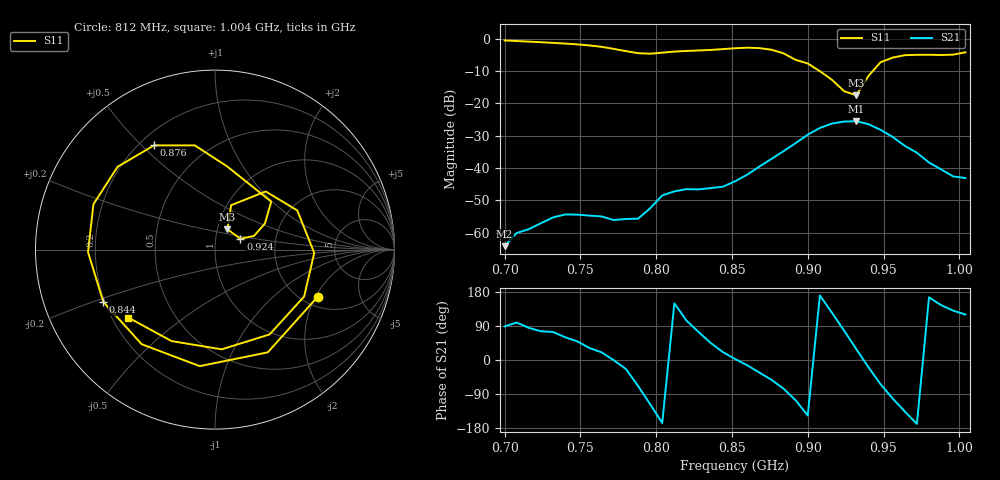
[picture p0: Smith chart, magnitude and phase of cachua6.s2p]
# Hz S RI R 50
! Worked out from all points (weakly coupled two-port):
!   39 points, 700 MHz to 1.004 GHz, reference 50 ohm
!   highest |S21| = -25.55 dB at 932 MHz (marker M1); lowest = -64.2 dB at 700 MHz (marker M2)
!   lowest |S11| = -17.5 dB at 932 MHz (marker M3), VSWR 1.31, Z = 55.9 + j12.9 ohm
!   |S11| at or under -10 dB: 907.7 MHz to 943 MHz (35.28 MHz wide, 3.81 % of centre)
!   S12 and S22 are empty: the file has one direction only
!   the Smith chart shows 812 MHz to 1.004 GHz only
!   S11 on the Smith chart (normalised r, x): 812 MHz: 2.39, -2.08; 844 MHz: 0.19, -0.21; 876 MHz: 0.26, +0.54; 924 MHz: 1.32, +0.16; 1.004 GHz: 0.27, -0.32
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7e8  0.7569 0.5489  1.46e-05 0.000617  0 0  0 0
7.24e8  0.8414 -0.2502  0.000343 0.00135  0 0  0 0
7.4e8  0.4573 -0.7004  0.000955 0.00165  0 0  0 0
7.56e8  -0.1913 -0.7595  0.00156 0.000956  0 0  0 0
7.72e8  -0.663 -0.1998  0.00156 -1.58e-05  0 0  0 0
7.8e8  -0.6004 0.2202  0.00149 -0.000651  0 0  0 0
7.88e8  -0.2599 0.5353  0.00061 -0.00152  0 0  0 0
7.96e8  0.2275 0.5369  -0.00106 -0.00212  0 0  0 0
8.04e8  0.5723 0.1973  -0.00365 -0.000892  0 0  0 0
8.12e8  0.5716 -0.2633  -0.00374 0.0022  0 0  0 0
8.28e8  -0.0853 -0.6492  0.0013 0.00447  0 0  0 0
8.44e8  -0.6226 -0.2906  0.00479 0.00183  0 0  0 0
8.52e8  -0.7074 -0.0141  0.00621 0.000297  0 0  0 0
8.76e8  -0.3396 0.5808  0.00844 -0.0109  0 0  0 0
9e8  0.3134 0.2674  -0.0272 -0.018  0 0  0 0
9.08e8  0.2778 0.1444  -0.0409 0.00697  0 0  0 0
9.24e8  0.1413 0.0602  0.0113 0.0508  0 0  0 0
9.32e8  0.0691 0.1134  0.0462 0.0255  0 0  0 0
9.56e8  0.4584 0.2183  -0.00601 -0.0296  0 0  0 0
9.64e8  0.553 -0.0188  -0.0157 -0.0153  0 0  0 0
9.8e8  0.3042 -0.4726  -0.0117 0.00306  0 0  0 0
1.004e9  -0.4832 -0.3786  -0.00348 0.00604  0 0  0 0
